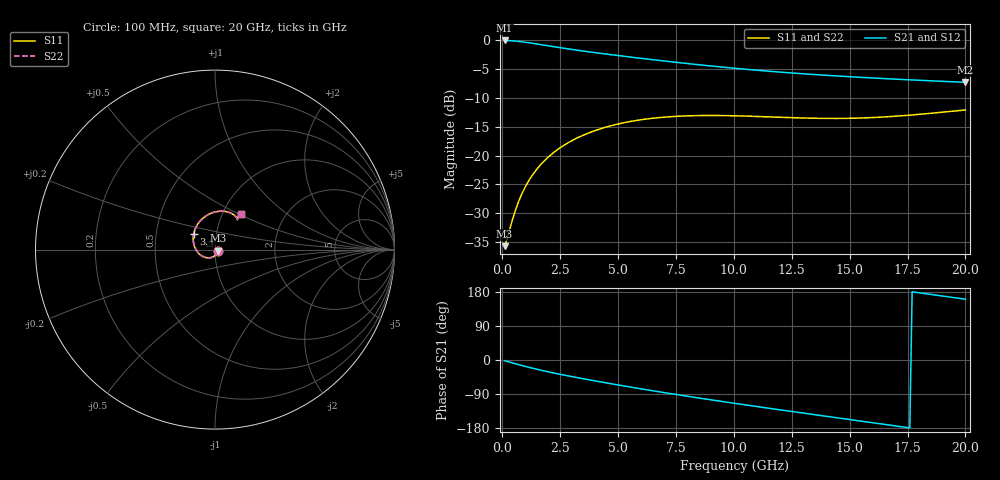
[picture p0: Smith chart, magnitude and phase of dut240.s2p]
! Created with skrf 1.9.0 (http://scikit-rf.org).
# GHz S RI R 50.0
!freq ReS11 ImS11 ReS21 ImS21 ReS12 ImS12 ReS22 ImS22
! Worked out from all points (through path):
!   200 points, 100 MHz to 20 GHz, reference 50 ohm
!   highest |S21| = -0.14 dB at 100 MHz (marker M1); lowest = -7.4 dB at 20 GHz (marker M2)
!   group delay of S21, straight-line fit = 26.2 ps
!   lowest |S11| = -35.7 dB at 100 MHz (marker M3), VSWR 1.03, Z = 51.5 - j0.675 ohm
!   |S11| at or under -10 dB: start of sweep to end of sweep
!   |S22| runs from -35.7 to -12.1 dB; largest |S21 - S12| = 2.8e-15
!   S11 on the Smith chart (normalised r, x): 100 MHz: 1.03, -0.01; 3.4 GHz: 0.78, +0.14; 20 GHz: 1.21, +0.52
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0.1  0.0151 -0.00654  0.9834 -0.0306  0.9834 -0.0306  0.0151 -0.00654
0.2  0.0137 -0.0129  0.9807 -0.061  0.9807 -0.061  0.0137 -0.0129
0.5  0.00336 -0.0304  0.9628 -0.1488  0.9628 -0.1488  0.00336 -0.0304
0.7  -0.00788 -0.039  0.944 -0.2034  0.944 -0.2034  -0.00788 -0.039
1  -0.0288 -0.0456  0.9078 -0.278  0.9078 -0.278  -0.0288 -0.0456
1.3  -0.0515 -0.044  0.865 -0.343  0.865 -0.343  -0.0515 -0.044
1.7  -0.0795 -0.0307  0.8026 -0.4156  0.8026 -0.4156  -0.0795 -0.0307
2.2  -0.1054 -0.00146  0.7219 -0.4871  0.7219 -0.4871  -0.1054 -0.00146
2.8  -0.1202 0.0422  0.6259 -0.5519  0.6259 -0.5519  -0.1202 0.0422
3.4  -0.1189 0.0862  0.5327 -0.5995  0.5327 -0.5995  -0.1189 0.0862
3.5  -0.1174 0.0932  0.5174 -0.6061  0.5174 -0.6061  -0.1174 0.0932
4.3  -0.0958 0.1424  0.398 -0.6462  0.398 -0.6462  -0.0958 0.1424
5.1  -0.0634 0.1781  0.2842 -0.6666  0.2842 -0.6666  -0.0634 0.1781
6.8  0.012 0.2123  0.0669 -0.6572  0.0669 -0.6572  0.012 0.2123
8.4  0.0684 0.2101  -0.1005 -0.6012  -0.1005 -0.6012  0.0684 0.2101
10.1  0.105 0.1934  -0.2381 -0.5118  -0.2381 -0.5118  0.105 0.1934
11.7  0.1209 0.1775  -0.3334 -0.4122  -0.3334 -0.4122  0.1209 0.1775
13.4  0.1256 0.1679  -0.4029 -0.2976  -0.4029 -0.2976  0.1256 0.1679
15  0.1254 0.1678  -0.4409 -0.186  -0.4409 -0.186  0.1254 0.1678
16.7  0.1263 0.1757  -0.4539 -0.0675  -0.4539 -0.0675  0.1263 0.1757
18.3  0.1318 0.1877  -0.4413 0.0396  -0.4413 0.0396  0.1318 0.1877
20  0.1439 0.2009  -0.4035 0.1437  -0.4035 0.1437  0.1439 0.2009
